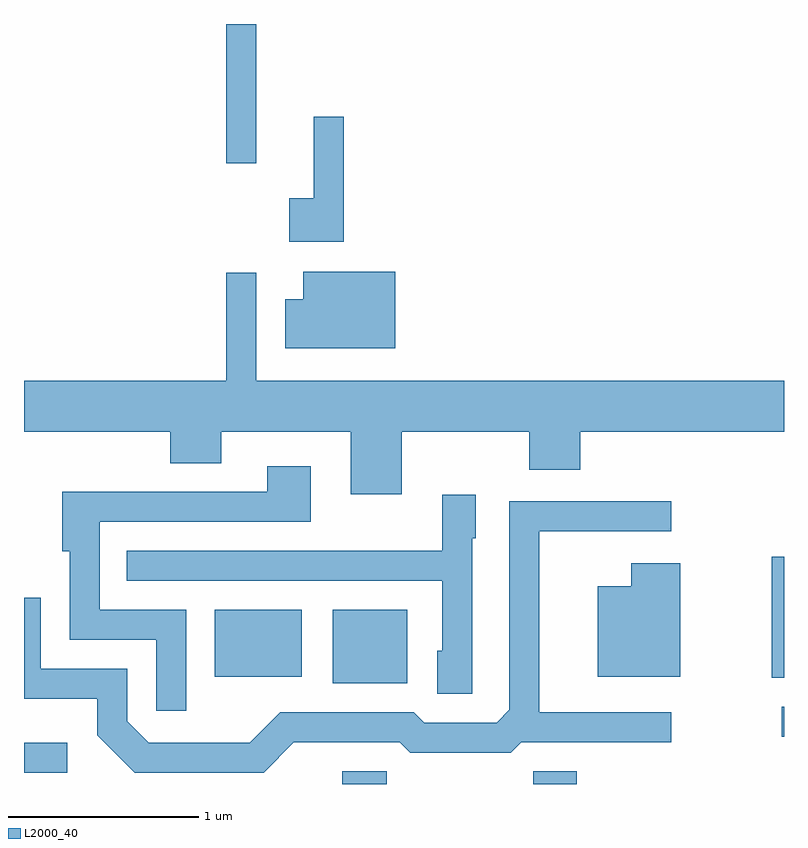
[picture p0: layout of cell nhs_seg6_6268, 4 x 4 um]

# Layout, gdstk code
import gdstk
lib = gdstk.Library(unit=1e-6, precision=1e-09)
def R(c, l, rs):  # rectangles x0, y0, x1, y1
    for r in rs: c.add(gdstk.rectangle(r[:2], r[2:], *l))
def P(c, l, *ps):  # polygons
    for p in ps: c.add(gdstk.Polygon(p, *l))
L2000_40 = (2000, 40)

nhs_seg6_6268 = lib.new_cell('nhs_seg6_6268')
R(nhs_seg6_6268, L2000_40, [(377.286,1568.162,377.519,1568.229), (378.291,1568.162,378.519,1568.229), (375.611,1568.221,375.838,1568.379), (379.598,1568.411,379.611,1568.569), (377.236,1568.691,377.629,1569.079), (379.546,1568.721,379.611,1569.359), (376.616,1568.726,377.074,1569.079), (376.676,1571.428,376.834,1572.162)])
P(nhs_seg6_6268, L2000_40, [(377.294,1571.673),(377.136,1571.673),(377.136,1571.244),(377.006,1571.244),(377.006,1571.016),(377.294,1571.016)],
  [(377.564,1570.859),(377.081,1570.859),(377.081,1570.714),(376.986,1570.714),(376.986,1570.456),(377.564,1570.456)],
  [(377.599,1570.016),(378.271,1570.016),(378.271,1569.816),(378.539,1569.816),(378.539,1570.016),(379.611,1570.016),(379.611,1570.284),(376.834,1570.284),(376.834,1570.853),(376.676,1570.853),(376.676,1570.284),(375.611,1570.284),(375.611,1570.016),(376.381,1570.016),(376.381,1569.851),(376.649,1569.851),(376.649,1570.016),(377.331,1570.016),(377.331,1569.686),(377.599,1569.686)],
  [(376.464,1569.079),(376.009,1569.079),(376.009,1569.541),(377.119,1569.541),(377.119,1569.834),(376.891,1569.834),(376.891,1569.699),(375.811,1569.699),(375.811,1569.386),(375.851,1569.386),(375.851,1568.921),(376.306,1568.921),(376.306,1568.548),(376.464,1568.548)],
  [(377.969,1569.456),(377.989,1569.456),(377.989,1569.684),(377.811,1569.684),(377.811,1569.389),(376.153,1569.389),(376.153,1569.231),(377.811,1569.231),(377.811,1568.864),(377.786,1568.864),(377.786,1568.636),(377.969,1568.636)],
  [(377.032,1568.381),(377.589,1568.381),(377.644,1568.326),(378.172,1568.326),(378.227,1568.381),(379.018,1568.381),(379.018,1568.539),(378.324,1568.539),(378.324,1569.491),(379.018,1569.491),(379.018,1569.649),(378.166,1569.649),(378.166,1568.552),(378.099,1568.484),(377.717,1568.484),(377.662,1568.539),(376.959,1568.539),(376.799,1568.379),(376.267,1568.379),(376.154,1568.492),(376.154,1568.769),(375.699,1568.769),(375.699,1569.143),(375.611,1569.143),(375.611,1568.611),(375.996,1568.611),(375.996,1568.419),(376.194,1568.221),(376.872,1568.221)],
  [(379.064,1569.324),(378.806,1569.324),(378.806,1569.204),(378.631,1569.204),(378.631,1568.726),(379.064,1568.726)])

lib.write_gds('nhs_seg6_6268.gds')
